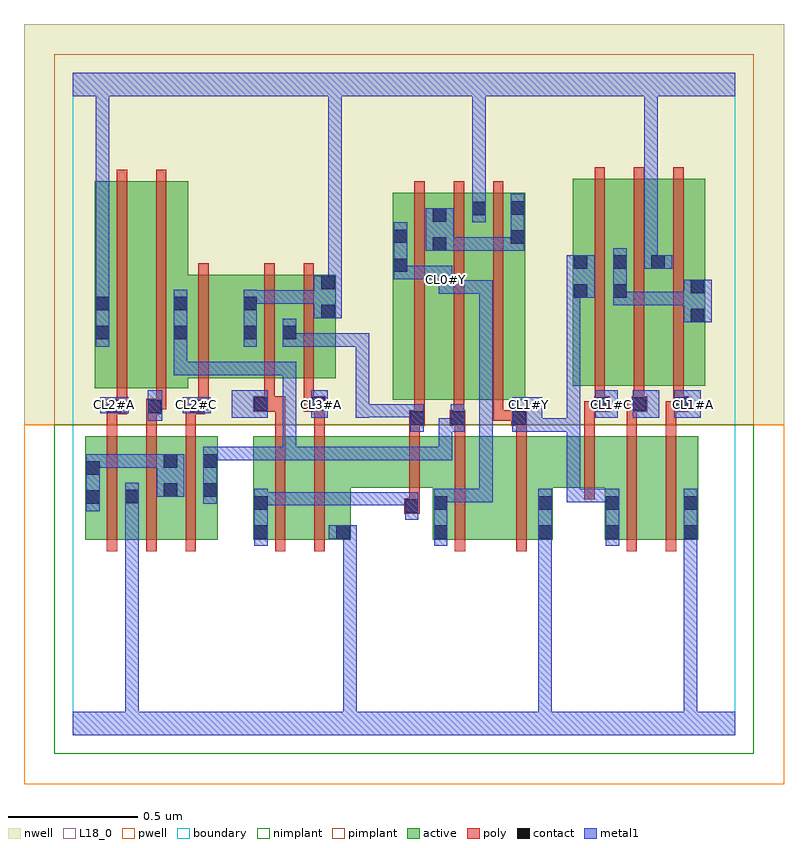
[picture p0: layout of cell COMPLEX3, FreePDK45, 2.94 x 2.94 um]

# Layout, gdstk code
import gdstk
lib = gdstk.Library(unit=1e-6, precision=1e-09)
def R(c, l, rs):  # rectangles x0, y0, x1, y1
    for r in rs: c.add(gdstk.rectangle(r[:2], r[2:], *l))
def A(c, l, x, y, w, h, nx, ny, dx, dy):  # array of equal rectangles
    R(c, l, [(x+i*dx, y+j*dy, x+i*dx+w, y+j*dy+h) for i in range(nx) for j in range(ny)])
active = (1, 0)
pwell = (2, 0)
nwell = (3, 0)
nimplant = (4, 0)
pimplant = (5, 0)
poly = (9, 0)
contact = (10, 0)
metal1 = (11, 0)
L18_0 = (18, 0)
boundary = (235, 0)

complex3 = lib.new_cell('COMPLEX3')
R(complex3, active, [(0.048,0.756,0.108,1.156), (0.048,0.756,0.26,1.156), (0.2,0.756,0.408,1.156), (0.2,0.756,0.26,0.952), (0.348,0.756,0.408,1.156), (0.348,0.756,0.56,1.156), (0.5,0.756,0.56,1.156), (0.698,0.756,0.758,1.156), (0.698,0.756,0.878,1.156), (0.878,0.756,1.074,1.156), (1.014,0.756,1.074,0.956), (1.392,0.756,1.452,1.156), (1.392,0.756,1.572,1.156), (1.572,0.756,1.854,1.156), (1.794,0.756,1.854,1.156), (2.056,0.756,2.116,1.156), (2.056,0.756,2.236,1.156), (2.236,0.756,2.416,1.156), (2.356,0.756,2.416,1.156), (1.014,0.956,1.452,1.156), (1.794,0.956,2.116,1.156), (1.236,1.296,1.448,2.096), (1.236,1.296,1.296,2.044), (1.388,1.296,1.6,2.096), (1.54,1.296,1.748,2.096), (1.688,1.296,1.748,2.068), (0.086,1.34,0.266,2.14), (0.086,1.34,0.146,2.044), (0.266,1.34,0.446,2.14), (1.932,1.35,1.992,2.044), (1.932,1.35,2.144,2.15), (2.084,1.35,2.144,2.044), (2.084,1.35,2.292,2.15), (2.232,1.35,2.444,2.15), (2.384,1.35,2.444,2.044), (0.386,1.38,0.716,1.78), (0.386,1.38,0.446,1.716), (0.656,1.38,0.716,1.78), (0.656,1.38,0.868,1.78), (0.808,1.38,1.016,1.78), (0.956,1.38,1.016,1.78), (2.232,1.45,2.292,2.15), (0.808,1.526,0.868,1.644), (1.54,1.526,1.6,2.096), (1.388,1.686,1.448,2.044)])
R(complex3, pwell, [(-0.188,-0.188,2.748,1.2)])
R(complex3, nwell, [(-0.188,1.2,2.748,2.748)])
R(complex3, nimplant, [(-0.072,-0.072,2.632,1.2)])
R(complex3, pimplant, [(-0.072,1.2,2.632,2.632)])
A(complex3, poly, 0.132, 0.712, 0.04, 0.488, 3, 1, 0.152, 0)
A(complex3, poly, 0.132, 1.16, 0.04, 0.12, 3, 1, 0.152, 0)
A(complex3, poly, 1.32, 1.216, 0.04, 0.076, 3, 1, 0.152, 0)
A(complex3, poly, 1.32, 1.252, 0.04, 0.888, 3, 1, 0.152, 0)
A(complex3, poly, 2.016, 1.27, 0.04, 0.076, 3, 1, 0.152, 0)
A(complex3, poly, 2.016, 1.306, 0.04, 0.888, 3, 1, 0.152, 0)
R(complex3, poly, [(0.782,0.712,0.822,1.2), (0.934,0.712,0.974,1.2), (1.476,0.712,1.516,1.2), (1.714,0.712,1.754,1.2), (2.14,0.712,2.18,1.2), (2.292,0.712,2.332,1.2), (1.28,0.856,1.34,0.916), (1.3,0.876,1.34,0.952), (1.3,0.912,1.34,1.2), (1.976,0.912,2.016,1.2), (0.782,1.16,0.822,1.29), (0.934,1.16,0.974,1.29), (1.3,1.16,1.34,1.236), (1.476,1.16,1.516,1.236), (1.714,1.16,1.754,1.236), (1.976,1.16,2.016,1.29), (2.14,1.16,2.18,1.29), (2.292,1.16,2.332,1.29), (1.3,1.196,1.34,1.236), (1.3,1.196,1.34,1.236), (1.3,1.196,1.36,1.256), (1.456,1.196,1.516,1.256), (1.694,1.196,1.754,1.256), (1.472,1.216,1.512,1.256), (1.472,1.216,1.512,1.256), (1.624,1.216,1.734,1.256), (1.694,1.216,1.734,1.256), (0.132,1.24,0.172,1.28), (0.132,1.24,0.172,1.28), (0.132,1.24,0.21,1.3), (0.284,1.24,0.346,1.3), (0.436,1.24,0.51,1.3), (0.698,1.25,0.822,1.31), (0.892,1.25,0.978,1.31), (0.934,1.25,0.974,1.29), (0.934,1.25,0.974,1.29), (1.976,1.25,2.054,1.29), (2.014,1.25,2.054,1.29), (2.014,1.25,2.074,1.31), (2.14,1.25,2.2,1.29), (2.16,1.25,2.2,1.29), (2.16,1.25,2.22,1.31), (2.292,1.25,2.36,1.29), (2.32,1.25,2.36,1.29), (2.32,1.25,2.38,1.31), (0.17,1.26,0.21,1.336), (0.306,1.26,0.346,1.3), (0.306,1.26,0.362,1.3), (0.322,1.26,0.362,1.336), (0.47,1.26,0.51,1.3), (0.47,1.26,0.526,1.3), (0.486,1.26,0.526,1.376), (0.74,1.27,0.78,1.31), (0.74,1.27,0.78,1.31), (0.74,1.27,0.78,1.376), (0.892,1.27,0.932,1.376), (0.17,1.296,0.21,2.184), (0.322,1.296,0.362,2.184), (0.486,1.336,0.526,1.824), (0.74,1.336,0.78,1.824), (0.892,1.336,0.932,1.824)])
R(complex3, contact, [(0.702,0.76,0.754,0.812), (1.018,0.76,1.07,0.812), (1.396,0.76,1.448,0.812), (1.798,0.76,1.85,0.812), (2.06,0.76,2.112,0.812), (2.36,0.76,2.412,0.812), (1.284,0.86,1.336,0.912), (0.702,0.872,0.754,0.924), (1.396,0.872,1.448,0.924), (1.798,0.872,1.85,0.924), (2.06,0.872,2.112,0.924), (2.36,0.872,2.412,0.924), (0.052,0.894,0.104,0.946), (0.204,0.896,0.256,0.948), (0.352,0.922,0.404,0.974), (0.504,0.922,0.556,0.974), (0.052,1.006,0.104,1.058), (0.352,1.034,0.404,1.086), (0.504,1.034,0.556,1.086), (1.304,1.2,1.356,1.252), (1.46,1.2,1.512,1.252), (1.698,1.2,1.75,1.252), (0.136,1.244,0.188,1.296), (0.29,1.244,0.342,1.296), (0.454,1.244,0.506,1.296), (0.702,1.254,0.754,1.306), (0.922,1.254,0.974,1.306), (2.018,1.254,2.07,1.306), (2.164,1.254,2.216,1.306), (2.324,1.254,2.376,1.306), (0.09,1.53,0.142,1.582), (0.39,1.53,0.442,1.582), (0.66,1.53,0.712,1.582), (0.812,1.53,0.864,1.582), (2.388,1.596,2.44,1.648), (0.96,1.612,1.012,1.664), (0.09,1.642,0.142,1.694), (0.39,1.642,0.442,1.694), (0.66,1.642,0.712,1.694), (1.936,1.69,1.988,1.742), (2.088,1.69,2.14,1.742), (2.388,1.708,2.44,1.76), (0.96,1.724,1.012,1.776), (1.24,1.79,1.292,1.842), (1.936,1.802,1.988,1.854), (2.088,1.802,2.14,1.854), (2.236,1.802,2.288,1.854), (1.392,1.872,1.444,1.924), (1.692,1.9,1.744,1.952), (1.24,1.902,1.292,1.954), (1.392,1.984,1.444,2.036), (1.544,2.01,1.596,2.062), (1.692,2.012,1.744,2.064)])
R(complex3, metal1, [(0,0,2.56,0.092), (0.204,0.04,0.256,0.092), (0.204,0.04,0.256,0.092), (0.204,0.04,0.256,0.092), (0.204,0.04,0.256,0.092), (0.204,0.04,0.256,0.092), (0.204,0.04,0.256,0.092), (0.204,0.04,0.256,0.092), (0.204,0.04,0.256,0.092), (0.204,0.04,0.256,0.092), (0.204,0.04,0.256,0.092), (0.204,0.04,0.256,0.092), (0.204,0.04,0.256,0.092), (0.204,0.04,0.256,0.92), (1.046,0.04,1.098,0.092), (1.046,0.04,1.098,0.092), (1.046,0.04,1.098,0.092), (1.046,0.04,1.098,0.092), (1.046,0.04,1.098,0.092), (1.046,0.04,1.098,0.092), (1.046,0.04,1.098,0.092), (1.046,0.04,1.098,0.092), (1.046,0.04,1.098,0.092), (1.046,0.04,1.098,0.092), (1.046,0.04,1.098,0.812), (1.798,0.04,1.85,0.092), (1.798,0.04,1.85,0.092), (1.798,0.04,1.85,0.784), (2.36,0.04,2.412,0.092), (2.36,0.04,2.412,0.092), (2.36,0.04,2.412,0.092), (2.36,0.04,2.412,0.092), (2.36,0.04,2.412,0.092), (2.36,0.04,2.412,0.092), (2.36,0.04,2.412,0.092), (2.36,0.04,2.412,0.092), (2.36,0.04,2.412,0.092), (2.36,0.04,2.412,0.092), (2.36,0.04,2.412,0.092), (2.36,0.04,2.412,0.092), (2.36,0.04,2.412,0.784), (0.702,0.732,0.754,0.952), (1.396,0.732,1.448,0.952), (1.798,0.732,1.85,0.784), (1.798,0.732,1.85,0.784), (1.798,0.732,1.85,0.784), (1.798,0.732,1.85,0.784), (1.798,0.732,1.85,0.784), (1.798,0.732,1.85,0.784), (1.798,0.732,1.85,0.784), (1.798,0.732,1.85,0.784), (1.798,0.732,1.85,0.784), (1.798,0.732,1.85,0.784), (1.798,0.732,1.85,0.952), (2.06,0.732,2.112,0.952), (2.36,0.732,2.412,0.952), (0.99,0.76,1.098,0.812), (1.046,0.76,1.098,0.812), (1.046,0.76,1.098,0.812), (1.284,0.832,1.336,0.94), (0.052,0.866,0.104,1.086), (0.204,0.868,0.256,0.976), (0.702,0.888,0.864,0.94), (0.812,0.888,0.864,0.94), (0.812,0.888,0.864,0.94), (0.812,0.888,0.864,0.94), (0.812,0.888,0.974,0.94), (0.922,0.888,0.974,0.94), (0.922,0.888,0.974,0.94), (0.922,0.888,0.974,0.94), (0.922,0.888,1.306,0.94), (1.254,0.888,1.306,0.94), (1.254,0.888,1.336,0.94), (0.504,0.894,0.556,1.114), (1.396,0.9,1.622,0.952), (1.57,0.9,1.622,0.952), (1.57,0.9,1.622,0.952), (1.57,0.9,1.622,0.952), (1.57,0.9,1.622,1.758), (1.908,0.9,1.96,0.952), (1.908,0.9,1.96,0.952), (1.908,0.9,1.96,0.952), (1.908,0.9,2.112,0.952), (1.908,0.9,1.96,1.224), (0.324,0.922,0.432,1.086), (0.052,1.034,0.104,1.086), (0.052,1.034,0.104,1.086), (0.052,1.034,0.252,1.086), (0.2,1.034,0.252,1.086), (0.2,1.034,0.252,1.086), (0.2,1.034,0.252,1.086), (0.2,1.034,0.376,1.086), (0.504,1.062,0.556,1.114), (0.504,1.062,0.556,1.114), (0.504,1.062,0.864,1.114), (0.812,1.062,0.864,1.114), (0.812,1.062,0.864,1.114), (0.812,1.062,0.864,1.114), (0.812,1.062,0.864,1.114), (0.812,1.062,0.864,1.114), (0.812,1.062,0.974,1.114), (0.812,1.062,0.864,1.444), (0.922,1.062,0.974,1.114), (0.922,1.062,0.974,1.114), (0.922,1.062,0.974,1.114), (0.922,1.062,1.256,1.114), (1.204,1.062,1.256,1.114), (1.204,1.062,1.256,1.114), (1.204,1.062,1.256,1.114), (1.204,1.062,1.466,1.114), (1.414,1.062,1.466,1.224), (1.304,1.172,1.356,1.28), (1.414,1.172,1.512,1.224), (1.46,1.172,1.512,1.28), (1.698,1.172,1.814,1.306), (1.762,1.172,1.814,1.224), (1.762,1.172,1.814,1.224), (1.762,1.172,1.96,1.224), (1.908,1.172,1.96,1.224), (1.908,1.172,1.96,1.742), (0.29,1.216,0.346,1.334), (0.614,1.226,0.754,1.334), (0.922,1.226,0.986,1.334), (1.094,1.226,1.146,1.334), (2.018,1.226,2.106,1.334), (2.164,1.226,2.266,1.334), (2.324,1.226,2.426,1.334), (1.094,1.228,1.256,1.28), (1.204,1.228,1.256,1.28), (1.204,1.228,1.356,1.28), (0.106,1.244,0.216,1.306), (0.426,1.244,0.534,1.306), (1.094,1.282,1.146,1.554), (0.39,1.392,0.442,1.444), (0.39,1.392,0.442,1.444), (0.39,1.392,0.442,1.444), (0.39,1.392,0.442,1.554), (0.39,1.392,0.556,1.444), (0.504,1.392,0.556,1.444), (0.504,1.392,0.556,1.444), (0.504,1.392,0.556,1.444), (0.504,1.392,0.864,1.444), (0.812,1.392,0.864,1.444), (0.812,1.392,0.864,1.444), (0.812,1.392,0.864,1.444), (0.09,1.502,0.142,1.722), (0.39,1.502,0.442,1.722), (0.66,1.502,0.712,1.722), (0.812,1.502,0.864,1.61), (0.812,1.502,1.146,1.554), (1.094,1.502,1.146,1.554), (1.094,1.502,1.146,1.554), (1.094,1.502,1.146,1.554), (2.36,1.596,2.468,1.76), (0.932,1.612,1.04,1.776), (2.088,1.662,2.14,1.714), (2.088,1.662,2.14,1.714), (2.088,1.662,2.14,1.882), (2.088,1.662,2.302,1.714), (2.25,1.662,2.302,1.714), (2.25,1.662,2.412,1.714), (2.36,1.662,2.412,1.714), (2.36,1.662,2.412,1.714), (0.66,1.668,0.712,1.72), (0.66,1.668,0.712,1.72), (0.66,1.668,0.864,1.72), (0.812,1.668,0.864,1.72), (0.812,1.668,0.984,1.72), (0.932,1.668,0.984,1.72), (0.932,1.668,0.984,1.72), (0.09,1.67,0.142,1.722), (0.09,1.67,0.142,1.722), (0.09,1.67,0.142,1.722), (0.09,1.67,0.142,1.722), (0.09,1.67,0.142,1.722), (0.09,1.67,0.142,1.722), (0.09,1.67,0.142,2.52), (1.908,1.69,1.96,1.742), (1.908,1.69,1.96,1.742), (1.908,1.69,2.016,1.854), (1.414,1.706,1.466,1.814), (1.414,1.706,1.622,1.758), (1.57,1.706,1.622,1.758), (1.57,1.706,1.622,1.758), (1.57,1.706,1.622,1.758), (1.57,1.706,1.622,1.758), (1.57,1.706,1.622,1.758), (0.988,1.724,1.04,1.776), (0.988,1.724,1.04,1.776), (0.988,1.724,1.04,1.776), (0.988,1.724,1.04,1.776), (0.988,1.724,1.04,1.776), (0.988,1.724,1.04,1.776), (0.988,1.724,1.04,1.776), (0.988,1.724,1.04,1.776), (0.988,1.724,1.04,1.776), (0.988,1.724,1.04,1.776), (0.988,1.724,1.04,1.776), (0.988,1.724,1.04,1.776), (0.988,1.724,1.04,2.52), (1.24,1.762,1.292,1.814), (1.24,1.762,1.292,1.814), (1.24,1.762,1.292,1.982), (1.24,1.762,1.466,1.814), (1.414,1.762,1.466,1.814), (1.414,1.762,1.466,1.814), (2.208,1.802,2.26,1.854), (2.208,1.802,2.26,1.854), (2.208,1.802,2.26,1.854), (2.208,1.802,2.26,1.854), (2.208,1.802,2.26,1.854), (2.208,1.802,2.26,1.854), (2.208,1.802,2.26,2.52), (2.208,1.802,2.316,1.854), (1.364,1.872,1.472,2.036), (1.42,1.872,1.472,1.924), (1.42,1.872,1.472,1.924), (1.42,1.872,1.582,1.924), (1.53,1.872,1.582,1.924), (1.53,1.872,1.582,1.924), (1.53,1.872,1.582,1.924), (1.53,1.872,1.744,1.924), (1.692,1.872,1.744,1.924), (1.692,1.872,1.744,1.924), (1.692,1.872,1.744,2.092), (1.544,1.982,1.596,2.09), (1.544,2.038,1.596,2.09), (1.544,2.038,1.596,2.09), (1.544,2.038,1.596,2.09), (1.544,2.038,1.596,2.09), (1.544,2.038,1.596,2.09), (1.544,2.038,1.596,2.09), (1.544,2.038,1.596,2.52), (0,2.468,2.56,2.56), (0.09,2.468,0.142,2.52), (0.09,2.468,0.142,2.52), (0.988,2.468,1.04,2.52), (0.988,2.468,1.04,2.52), (0.988,2.468,1.04,2.52), (0.988,2.468,1.04,2.52), (1.544,2.468,1.596,2.52), (1.544,2.468,1.596,2.52), (2.208,2.468,2.26,2.52), (2.208,2.468,2.26,2.52)])
A(complex3, L18_0, 0.134, 1.254, 0.052, 0.052, 4, 1, 0.16, 0)
A(complex3, L18_0, 2.054, 1.254, 0.052, 0.052, 3, 1, 0.16, 0)
R(complex3, L18_0, [(0,0,2.56,0.092), (0.204,0.04,0.256,0.092), (0.204,0.04,0.256,0.092), (0.204,0.04,0.256,0.092), (0.204,0.04,0.256,0.092), (0.204,0.04,0.256,0.092), (0.204,0.04,0.256,0.092), (0.204,0.04,0.256,0.092), (0.204,0.04,0.256,0.092), (0.204,0.04,0.256,0.092), (0.204,0.04,0.256,0.092), (0.204,0.04,0.256,0.092), (0.204,0.04,0.256,0.092), (0.204,0.04,0.256,0.92), (1.046,0.04,1.098,0.092), (1.046,0.04,1.098,0.092), (1.046,0.04,1.098,0.092), (1.046,0.04,1.098,0.092), (1.046,0.04,1.098,0.092), (1.046,0.04,1.098,0.092), (1.046,0.04,1.098,0.092), (1.046,0.04,1.098,0.092), (1.046,0.04,1.098,0.092), (1.046,0.04,1.098,0.092), (1.046,0.04,1.098,0.812), (1.798,0.04,1.85,0.092), (1.798,0.04,1.85,0.092), (1.798,0.04,1.85,0.784), (2.36,0.04,2.412,0.092), (2.36,0.04,2.412,0.092), (2.36,0.04,2.412,0.092), (2.36,0.04,2.412,0.092), (2.36,0.04,2.412,0.092), (2.36,0.04,2.412,0.092), (2.36,0.04,2.412,0.092), (2.36,0.04,2.412,0.092), (2.36,0.04,2.412,0.092), (2.36,0.04,2.412,0.092), (2.36,0.04,2.412,0.092), (2.36,0.04,2.412,0.092), (2.36,0.04,2.412,0.784), (0.702,0.732,0.754,0.952), (1.396,0.732,1.448,0.952), (1.798,0.732,1.85,0.952), (1.798,0.732,1.85,0.784), (1.798,0.732,1.85,0.784), (1.798,0.732,1.85,0.784), (1.798,0.732,1.85,0.784), (1.798,0.732,1.85,0.784), (1.798,0.732,1.85,0.784), (1.798,0.732,1.85,0.784), (1.798,0.732,1.85,0.784), (1.798,0.732,1.85,0.784), (1.798,0.732,1.85,0.784), (2.06,0.732,2.112,0.952), (2.36,0.732,2.412,0.952), (0.99,0.76,1.098,0.812), (1.046,0.76,1.098,0.812), (1.046,0.76,1.098,0.812), (1.284,0.832,1.336,0.94), (0.204,0.868,0.256,0.976), (0.702,0.888,0.864,0.94), (0.812,0.888,0.864,0.94), (0.812,0.888,0.864,0.94), (0.812,0.888,0.864,0.94), (0.812,0.888,0.974,0.94), (0.922,0.888,0.974,0.94), (0.922,0.888,0.974,0.94), (0.922,0.888,0.974,0.94), (0.922,0.888,1.306,0.94), (1.254,0.888,1.306,0.94), (1.254,0.888,1.336,0.94), (1.396,0.9,1.622,0.952), (1.57,0.9,1.622,0.952), (1.57,0.9,1.622,0.952), (1.57,0.9,1.622,0.952), (1.57,0.9,1.622,1.758), (1.908,0.9,1.96,0.952), (1.908,0.9,1.96,0.952), (1.908,0.9,1.96,0.952), (1.908,0.9,2.112,0.952), (1.908,0.9,1.96,1.224), (1.304,1.172,1.356,1.28), (1.698,1.172,1.814,1.306), (1.762,1.172,1.814,1.224), (1.762,1.172,1.814,1.224), (1.762,1.172,1.96,1.224), (1.908,1.172,1.96,1.224), (1.908,1.172,1.96,1.742), (0.29,1.216,0.346,1.334), (0.614,1.226,0.754,1.334), (0.922,1.226,0.986,1.334), (1.094,1.226,1.146,1.334), (2.018,1.226,2.106,1.334), (2.164,1.226,2.266,1.334), (2.324,1.226,2.426,1.334), (1.094,1.228,1.256,1.28), (1.204,1.228,1.256,1.28), (1.204,1.228,1.356,1.28), (0.106,1.244,0.216,1.306), (0.426,1.244,0.534,1.306), (0.934,1.254,0.986,1.306), (1.094,1.254,1.146,1.306), (1.734,1.254,1.786,1.306), (1.094,1.282,1.146,1.554), (0.09,1.502,0.142,1.722), (0.66,1.502,0.712,1.722), (0.812,1.502,0.864,1.61), (0.812,1.502,1.146,1.554), (1.094,1.502,1.146,1.554), (1.094,1.502,1.146,1.554), (1.094,1.502,1.146,1.554), (0.932,1.612,1.04,1.776), (0.66,1.668,0.712,1.72), (0.66,1.668,0.712,1.72), (0.66,1.668,0.864,1.72), (0.812,1.668,0.864,1.72), (0.812,1.668,0.984,1.72), (0.932,1.668,0.984,1.72), (0.932,1.668,0.984,1.72), (0.09,1.67,0.142,1.722), (0.09,1.67,0.142,1.722), (0.09,1.67,0.142,1.722), (0.09,1.67,0.142,1.722), (0.09,1.67,0.142,1.722), (0.09,1.67,0.142,1.722), (0.09,1.67,0.142,2.52), (1.908,1.69,1.96,1.742), (1.908,1.69,1.96,1.742), (1.908,1.69,2.016,1.854), (1.414,1.706,1.466,1.814), (1.414,1.706,1.622,1.758), (1.57,1.706,1.622,1.758), (1.57,1.706,1.622,1.758), (1.57,1.706,1.622,1.758), (1.57,1.706,1.622,1.758), (1.57,1.706,1.622,1.758), (0.988,1.724,1.04,1.776), (0.988,1.724,1.04,1.776), (0.988,1.724,1.04,1.776), (0.988,1.724,1.04,1.776), (0.988,1.724,1.04,1.776), (0.988,1.724,1.04,1.776), (0.988,1.724,1.04,1.776), (0.988,1.724,1.04,1.776), (0.988,1.724,1.04,1.776), (0.988,1.724,1.04,1.776), (0.988,1.724,1.04,1.776), (0.988,1.724,1.04,1.776), (0.988,1.724,1.04,2.52), (1.414,1.734,1.466,1.786), (1.24,1.762,1.292,1.982), (1.24,1.762,1.292,1.814), (1.24,1.762,1.292,1.814), (1.24,1.762,1.466,1.814), (1.414,1.762,1.466,1.814), (1.414,1.762,1.466,1.814), (2.208,1.802,2.26,1.854), (2.208,1.802,2.26,1.854), (2.208,1.802,2.26,1.854), (2.208,1.802,2.26,1.854), (2.208,1.802,2.26,1.854), (2.208,1.802,2.26,1.854), (2.208,1.802,2.316,1.854), (2.208,1.802,2.26,2.52), (1.544,1.982,1.596,2.09), (1.544,2.038,1.596,2.09), (1.544,2.038,1.596,2.09), (1.544,2.038,1.596,2.09), (1.544,2.038,1.596,2.09), (1.544,2.038,1.596,2.09), (1.544,2.038,1.596,2.09), (1.544,2.038,1.596,2.52), (0,2.468,2.56,2.56), (0.09,2.468,0.142,2.52), (0.09,2.468,0.142,2.52), (0.988,2.468,1.04,2.52), (0.988,2.468,1.04,2.52), (0.988,2.468,1.04,2.52), (0.988,2.468,1.04,2.52), (1.544,2.468,1.596,2.52), (1.544,2.468,1.596,2.52), (2.208,2.468,2.26,2.52), (2.208,2.468,2.26,2.52)])
R(complex3, boundary, [(0,0,2.56,2.56)])
complex3.add(gdstk.Label('CL0#Y', (1.44,1.76), layer=11, texttype=0))
complex3.add(gdstk.Label('CL1#A', (2.4,1.28), layer=11, texttype=0))
complex3.add(gdstk.Label('CL1#B', (2.24,1.28), layer=11, texttype=0))
complex3.add(gdstk.Label('CL1#C', (2.08,1.28), layer=11, texttype=0))
complex3.add(gdstk.Label('CL1#Y', (1.76,1.28), layer=11, texttype=0))
complex3.add(gdstk.Label('CL2#A', (0.16,1.28), layer=11, texttype=0))
complex3.add(gdstk.Label('CL2#B', (0.32,1.28), layer=11, texttype=0))
complex3.add(gdstk.Label('CL2#C', (0.48,1.28), layer=11, texttype=0))
complex3.add(gdstk.Label('CL3#A', (0.96,1.28), layer=11, texttype=0))
complex3.add(gdstk.Label('CL3#B', (0.64,1.28), layer=11, texttype=0))
complex3.add(gdstk.Label('CL3#Y', (1.12,1.28), layer=11, texttype=0))

lib.write_gds('COMPLEX3.gds')
